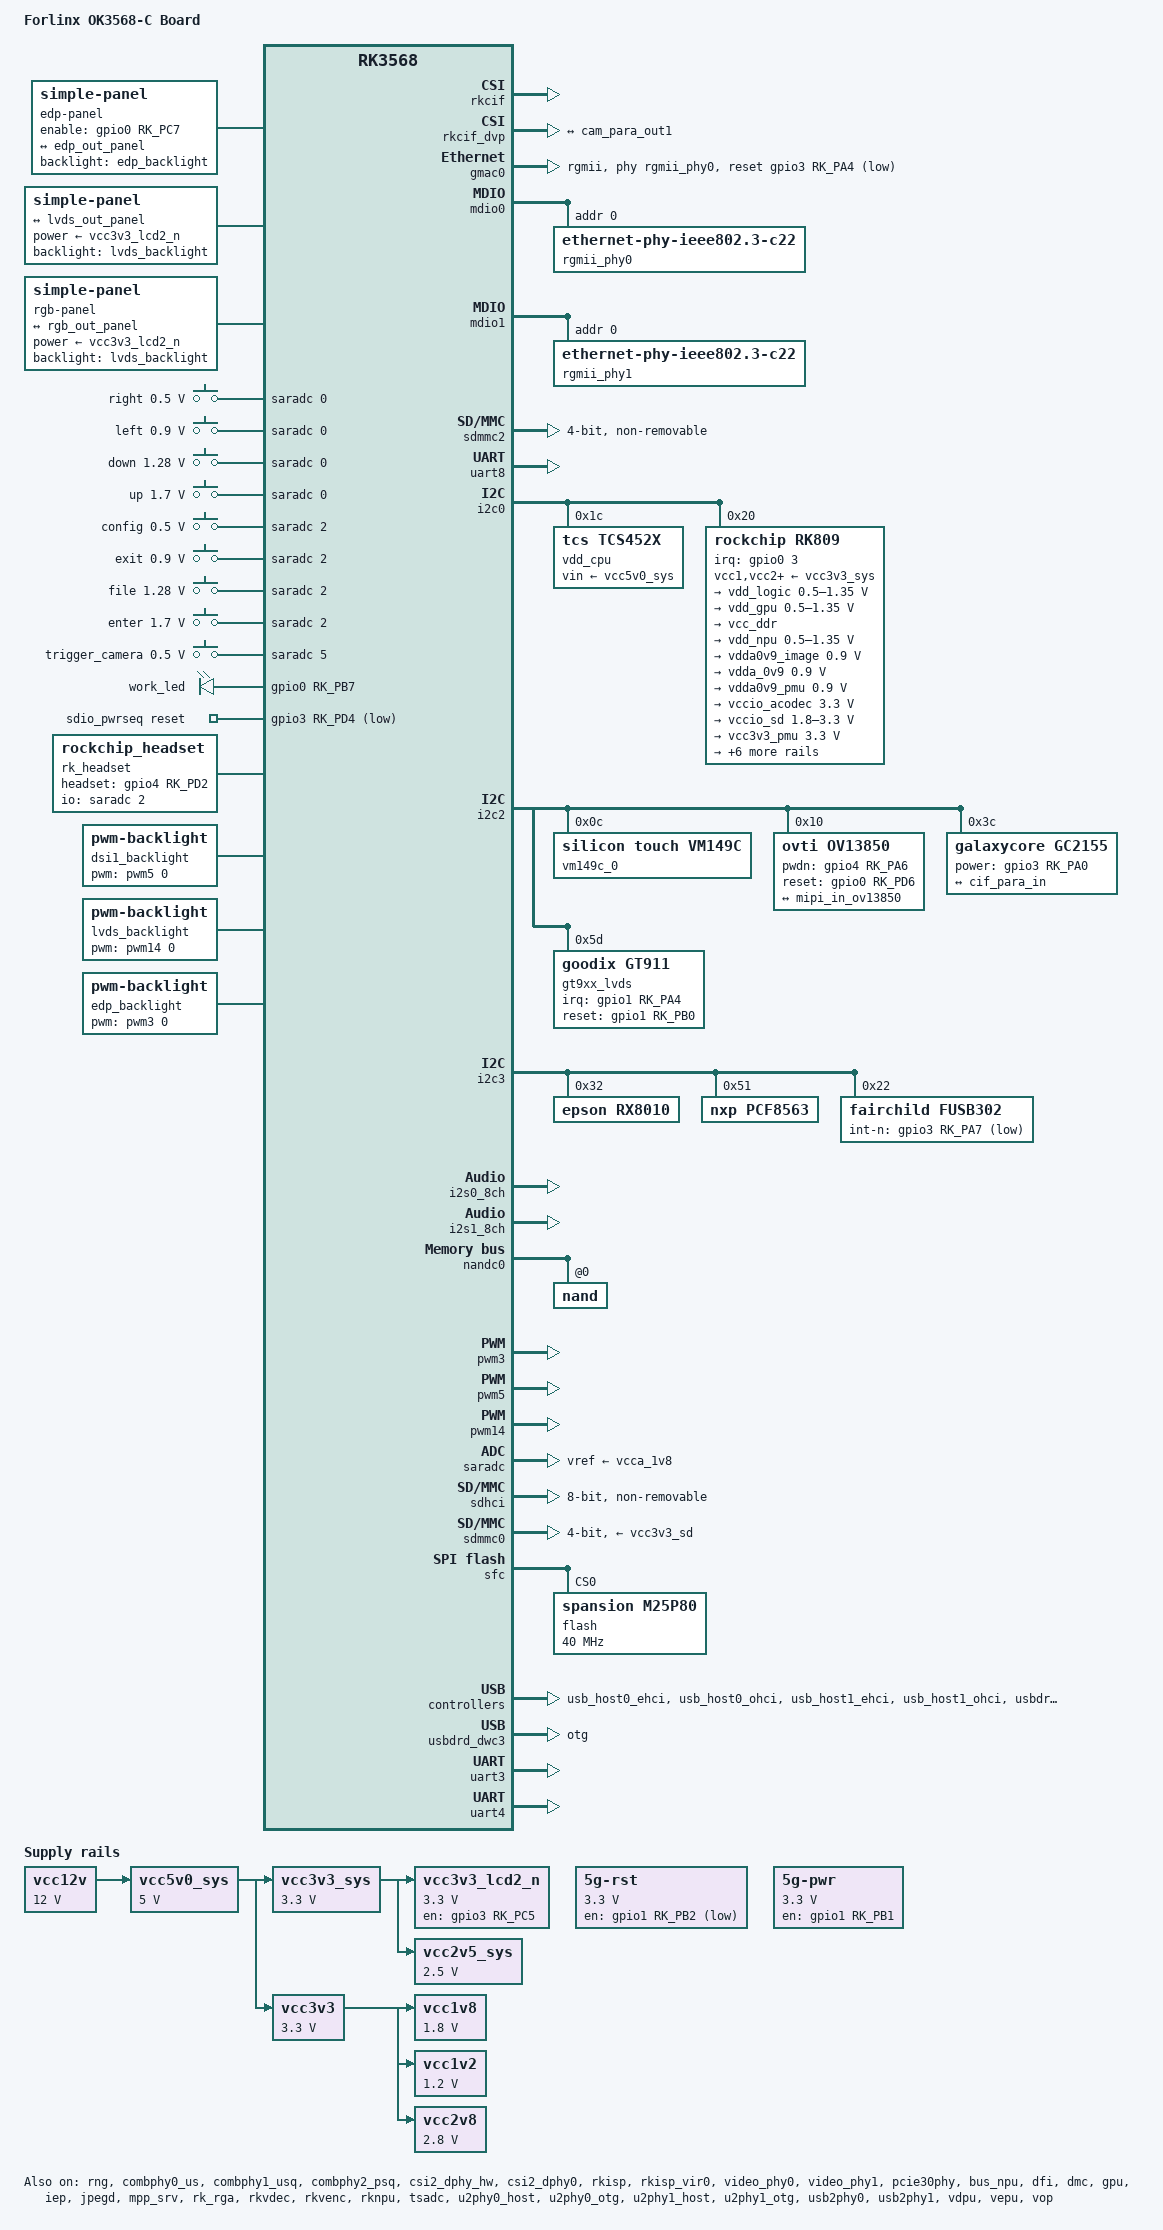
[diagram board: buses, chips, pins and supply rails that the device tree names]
/dts-v1/;

#include <dt-bindings/gpio/gpio.h>
#include <dt-bindings/pwm/pwm.h>
#include <dt-bindings/input/rk-input.h>
#include <dt-bindings/display/drm_mipi_dsi.h>
#include <dt-bindings/display/rockchip_vop.h>
#include <dt-bindings/display/media-bus-format.h>
#include "rk3568.dtsi"

/ {

	model = "Forlinx OK3568-C Board";
	compatible = "forlinx,ok3568", "rockchip,rk3568-evb1-ddr4-v10", "rockchip,rk3568";

	forlinx_control {
		status = "okay";
		video-hdmi = "hdmi";
		video-mipi-edp = "mipi";
		video-lvds-rgb = "lvds";
	};

	edp-panel {
		compatible = "simple-panel";
		prepare-delay-ms = <120>;
		enable-delay-ms = <120>;
		unprepare-delay-ms = <120>;
		disable-delay-ms = <120>;
		backlight = <&edp_backlight>;
		enable-gpios = <&gpio0 RK_PC7 GPIO_ACTIVE_HIGH>;

		port {
			panel_in_edp: endpoint {
				remote-endpoint = <&edp_out_panel>;
			};
		};
	};

	panel {
		compatible = "simple-panel";
		backlight = <&lvds_backlight>;
		power-supply = <&vcc3v3_lcd2_n>;
		enable-delay-ms = <20>;
		prepare-delay-ms = <20>;
		unprepare-delay-ms = <20>;
		disable-delay-ms = <20>;
		// attention
		bus-format = <MEDIA_BUS_FMT_RGB888_1X7X4_SPWG>;
		width-mm = <152>;
		height-mm = <91>;

		display-timings {
			native-mode = <&timing0>;

			timing0: timing0 {
				clock-frequency = <51000000>;
				hactive = <1024>;
				vactive = <600>;
				hback-porch = <210>;
				hfront-porch = <80>;
				vback-porch = <23>;
				vfront-porch = <12>;
				hsync-len = <8>;
				vsync-len = <8>;
				// all down
				hsync-active = <0>;
				vsync-active = <0>;
				de-active = <0>;
				pixelclk-active = <0>;
			};
		};

		ports {
			#address-cells = <1>;
			#size-cells = <0>;

			port@0 {
				reg = <0>;
				dual-lvds-even-pixels;
				panel_in_lvds: endpoint {
					remote-endpoint = <&lvds_out_panel>;
				};
			};
		};
	};

	rgb-panel {
                compatible = "simple-panel";
                backlight = <&lvds_backlight>;
                power-supply = <&vcc3v3_lcd2_n>;
                bus-format = <MEDIA_BUS_FMT_RGB888_1X7X4_SPWG>;

                display-timings {
                        native-mode = <&timing1>;

                        timing1: timing1 {
                               clock-frequency = <51200000>;
                               hactive = <1024>;
                               vactive = <600>;
                               hfront-porch = <160>;
                               hback-porch = <320>;
                               hsync-len = <1>;
                               vback-porch = <35>;
                               vfront-porch = <12>;
                               vsync-len = <1>;
                               hsync-active = <0>;
                               vsync-active = <0>;
                               de-active = <1>;
                               pixelclk-active = <1>;
                        };
                };

                ports {
                        #address-cells = <1>;
                        #size-cells = <0>;

                        port@0 {
                                reg = <0>;
                                panel_in_rgb: endpoint {
                                        remote-endpoint = <&rgb_out_panel>;
                                };
                        };

                };
        };

	// XJT modify: forlinx 3568
	// adc_keys: adc-keys {
	// 	compatible = "adc-keys";
	// 	io-channels = <&saradc 0>;
	// 	io-channel-names = "buttons";
	// 	keyup-threshold-microvolt = <1800000>;
	// 	poll-interval = <100>;

	// 	vol-up-key {
	// 		label = "volume up";
	// 		linux,code = <KEY_VOLUMEUP>;
	// 		press-threshold-microvolt = <1750>;
	// 	};

	// 	vol-down-key {
	// 		label = "volume down";
	// 		linux,code = <KEY_VOLUMEDOWN>;
	// 		press-threshold-microvolt = <297500>;
	// 	};

	// 	menu-key {
	// 		label = "menu";
	// 		linux,code = <KEY_MENU>;
	// 		press-threshold-microvolt = <980000>;
	// 	};

	// 	back-key {
	// 		label = "back";
	// 		linux,code = <KEY_BACK>;
	// 		press-threshold-microvolt = <1305500>;
	// 	};
	// };

	adc_keys_0: adc-keys-0 {
		compatible = "adc-keys-0";
		io-channels = <&saradc 0>;
		io-channel-names = "buttons-0";
		keyup-threshold-microvolt = <1800000>;
		poll-interval = <100>;

		// Arrow key, right, K5
		arr-right-key {
			label = "right";
			linux,code = <KEY_RIGHT>;
			press-threshold-microvolt = <500000>;
		};

		// Arrow key, left, K4
		arr-left-key {
			label = "left";
			linux,code = <KEY_LEFT>;
			press-threshold-microvolt = <900000>;
		};

		// Arrow key, down, K3
		arr-down-key {
			label = "down";
			linux,code = <KEY_DOWN>;
			press-threshold-microvolt = <1280000>;
		};

		// Arrow key, up, K2
		arr-up-key {
			label = "up";
			linux,code = <KEY_UP>;
			press-threshold-microvolt = <1700000>;
		};
	};

	adc_keys_2: adc-keys-2 {
		compatible = "adc-keys-2";
		io-channels = <&saradc 2>;
		io-channel-names = "buttons-2";
		keyup-threshold-microvolt = <1800000>;
		poll-interval = <100>;

		// Config key, K17
		config-key {
			label = "config";
			linux,code = <KEY_CONFIG>;
			press-threshold-microvolt = <500000>;
		};

		// Exit key, function as return , K16
		exit-key {
			label = "exit";
			linux,code = <KEY_EXIT>;
			press-threshold-microvolt = <900000>;
		};

		// File key, function as read existed image or video, K15
		file-key {
			label = "file";
			linux,code = <KEY_FILE>;
			press-threshold-microvolt = <1280000>;
		};

		// Arraw key, center or enter, K14
		arr-enter-key {
			label = "enter";
			linux,code = <KEY_ENTER>;
			press-threshold-microvolt = <1700000>;
		};
	};

	adc_keys_5: adc-keys-5 {
		compatible = "adc-keys-5";
		io-channels = <&saradc 5>;
		io-channel-names = "buttons-5";
		keyup-threshold-microvolt = <1800000>;
		poll-interval = <100>;

		// Trigger key, K17. Click capture image; press capture video
		trigger-camera-key {
			label = "trigger_camera";
			linux,code = <KEY_CAMERA>;
			press-threshold-microvolt = <500000>;
		};
	};

	leds: leds {
		compatible = "gpio-leds";
		work_led: work {
			gpios = <&gpio0 RK_PB7 GPIO_ACTIVE_HIGH>;
			linux,default-trigger = "heartbeat";
		};
	};

	hdmi_sound: hdmi-sound {
		status = "okay";
		compatible = "rockchip,hdmi";
		rockchip,mclk-fs = <128>;
		rockchip,card-name = "rockchip,hdmi";
		rockchip,cpu = <&i2s0_8ch>;
		rockchip,codec = <&hdmi>;
		rockchip,jack-det;
	};

	pdmics: dummy-codec {
		status = "disabled";
		compatible = "rockchip,dummy-codec";
		#sound-dai-cells = <0>;
	};

	pdm_mic_array: pdm-mic-array {
		status = "disabled";
		compatible = "simple-audio-card";
		simple-audio-card,name = "rockchip,pdm-mic-array";
		simple-audio-card,cpu {
			sound-dai = <&pdm>;
		};
		simple-audio-card,codec {
			sound-dai = <&pdmics>;
		};
	};

	audiopwmout_diff: audiopwmout-diff {
		status = "disabled";
		compatible = "simple-audio-card";
		simple-audio-card,format = "i2s";
		simple-audio-card,name = "rockchip,audiopwmout-diff";
		simple-audio-card,mclk-fs = <256>;
		simple-audio-card,bitclock-master = <&master>;
		simple-audio-card,frame-master = <&master>;
		simple-audio-card,cpu {
			sound-dai = <&i2s3_2ch>;
		};
		master: simple-audio-card,codec {
			sound-dai = <&dig_acodec>;
		};
	};


	rk809_sound: rk809-sound {
		status = "okay";
		compatible = "simple-audio-card";
		simple-audio-card,format = "i2s";
		simple-audio-card,name = "rockchip,rk809-codec";
		//simple-audio-card,hp-det-gpio = <&gpio4 RK_PD2 GPIO_ACTIVE_HIGH>;
		simple-audio-card,widgets =
			"Microphone", "Mic Jack",
			"Headphone", "Headphone Jack";
		simple-audio-card,routing =
                        "Mic Jack", "MICBIAS1",
                        "IN1P", "Mic Jack",
                        "Headphone Jack", "HPOL",
                        "Headphone Jack", "HPOR";
		simple-audio-card,mclk-fs = <256>;

		simple-audio-card,cpu {
			sound-dai = <&i2s1_8ch>;
		};
		simple-audio-card,codec {
			sound-dai = <&rk809_codec>;
		};
	};

	spdif-sound {
		status = "disabled";
		compatible = "simple-audio-card";
		simple-audio-card,name = "ROCKCHIP,SPDIF";
		simple-audio-card,cpu {
				sound-dai = <&spdif_8ch>;
		};
		simple-audio-card,codec {
				sound-dai = <&spdif_out>;
		};
	};

	spdif_out: spdif-out {
			status = "disabled";
			compatible = "linux,spdif-dit";
			#sound-dai-cells = <0>;
	};

	vcc12v: vcc-12v {
		compatible = "regulator-fixed";
		regulator-name = "vcc12v";
		regulator-always-on;
		regulator-boot-on;
		regulator-min-microvolt = <12000000>;
		regulator-max-microvolt = <12000000>;
	};

	vcc5v0_sys: vcc5v0-sys {
		compatible = "regulator-fixed";
		regulator-name = "vcc5v0_sys";
		regulator-always-on;
		regulator-boot-on;
		regulator-min-microvolt = <5000000>;
		regulator-max-microvolt = <5000000>;
		vin-supply = <&vcc12v>;
	};

	vcc3v3_sys: vcc3v3-sys {
		compatible = "regulator-fixed";
		regulator-name = "vcc3v3_sys";
		regulator-always-on;
		regulator-boot-on;
		regulator-min-microvolt = <3300000>;
		regulator-max-microvolt = <3300000>;
		vin-supply = <&vcc5v0_sys>;
	};
	
	//for main board
	vcc3v3: vcc-3v3 {
		compatible = "regulator-fixed";
		regulator-name = "vcc3v3";
		regulator-always-on;
		regulator-boot-on;
		regulator-min-microvolt = <3300000>;
		regulator-max-microvolt = <3300000>;
		vin-supply = <&vcc5v0_sys>;
	};

	vcc1v8: vcc-1v8 {
		compatible = "regulator-fixed";
		regulator-name = "vcc1v8";
		regulator-always-on;
		regulator-boot-on;
		regulator-min-microvolt = <1800000>;
		regulator-max-microvolt = <1800000>;
		vin-supply = <&vcc3v3>;
	};

	vcc1v2: vcc-1v2 {
		compatible = "regulator-fixed";
		regulator-name = "vcc1v2";
		regulator-always-on;
		regulator-boot-on;
		regulator-min-microvolt = <1200000>;
		regulator-max-microvolt = <1200000>;
		vin-supply = <&vcc3v3>;
	};

	vcc2v8: vcc-2v8 {
		compatible = "regulator-fixed";
		regulator-name = "vcc2v8";
		regulator-always-on;
		regulator-boot-on;
		regulator-min-microvolt = <2800000>;
		regulator-max-microvolt = <2800000>;
		vin-supply = <&vcc3v3>;
	};

	vcc3v3_lcd2_n: vcc3v3-lcd2-n {
		compatible = "regulator-fixed";
		regulator-name = "vcc3v3_lcd2_n";
		regulator-boot-on;
		regulator-min-microvolt = <3300000>;
		regulator-max-microvolt = <3300000>;
		enable-active-high;
		gpio = <&gpio3 RK_PC5 GPIO_ACTIVE_HIGH>;
		vin-supply = <&vcc3v3_sys>;
		
		regulator-state-mem {
			regulator-off-in-suspend;
		};
	};

	sdio_pwrseq: sdio-pwrseq {
		compatible = "mmc-pwrseq-simple";
		clocks = <&rk809 1>;
		clock-names = "ext_clock";
		pinctrl-names = "default";
		pinctrl-0 = <&wifi_enable_h>;

		/*
		 * On the module itself this is one of these (depending
		 * on the actual card populated):
		 * - SDIO_RESET_L_WL_REG_ON
		 * - PDN (power down when low)
		 */
		post-power-on-delay-ms = <200>;
		reset-gpios = <&gpio3 RK_PD4 GPIO_ACTIVE_LOW>;
	};

	vcc2v5_sys: vcc2v5-ddr {
		compatible = "regulator-fixed";
		regulator-name = "vcc2v5-sys";
		regulator-always-on;
		regulator-boot-on;
		regulator-min-microvolt = <2500000>;
		regulator-max-microvolt = <2500000>;
		vin-supply = <&vcc3v3_sys>;
	};

	5g-rst {
        compatible = "regulator-fixed";
        regulator-name = "5g-rst";
        regulator-min-microvolt = <3300000>;
        regulator-max-microvolt = <3300000>;
        gpio = <&gpio1 RK_PB2 GPIO_ACTIVE_LOW>;
        enable-active-low;
        regulator-boot-on;
        regulator-always-on;
		pinctrl-names = "default";
		pinctrl-0 = <&net_5g_rst_gpio>;
        status = "okay";
    };

    5g-pwr {
        compatible = "regulator-fixed";
        regulator-name = "5g-pwr";
        regulator-min-microvolt = <3300000>;
        regulator-max-microvolt = <3300000>;
        gpio = <&gpio1 RK_PB1 GPIO_ACTIVE_HIGH>;
        enable-active-high;
        regulator-boot-on;
        regulator-always-on;
		pinctrl-names = "default";
		pinctrl-0 = <&net_5g_pwr_gpio>;
        status = "okay";
    };

	fiq-debugger {
		compatible = "rockchip,fiq-debugger";
		rockchip,serial-id = <2>;
		rockchip,wake-irq = <0>;
		/* If enable uart uses irq instead of fiq */
		rockchip,irq-mode-enable = <1>;
		rockchip,baudrate = <115200>;  /* Only 115200 and 1500000 */
		interrupts = <GIC_SPI 252 IRQ_TYPE_LEVEL_LOW>;
		pinctrl-names = "default";
		pinctrl-0 = <&uart2m0_xfer>;
		status = "okay";
	};

	debug: debug@fd904000 {
		compatible = "rockchip,debug";
		reg = <0x0 0xfd904000 0x0 0x1000>,
			<0x0 0xfd905000 0x0 0x1000>,
			<0x0 0xfd906000 0x0 0x1000>,
			<0x0 0xfd907000 0x0 0x1000>;
	};

	cspmu: cspmu@fd90c000 {
		compatible = "rockchip,cspmu";
		reg = <0x0 0xfd90c000 0x0 0x1000>,
			<0x0 0xfd90d000 0x0 0x1000>,
			<0x0 0xfd90e000 0x0 0x1000>,
			<0x0 0xfd90f000 0x0 0x1000>;
	};

	test-power {
		status = "okay";
	};

	rk_headset: rk-headset {
		status = "okay";
		compatible = "rockchip_headset";
		headset_gpio = <&gpio4 RK_PD2 GPIO_ACTIVE_HIGH>;
		pinctrl-names = "default";
		pinctrl-0 = <&hp_det>;
		io-channels = <&saradc 2>;
	};

	dsi1_backlight: dsi1-backlight {
		compatible = "pwm-backlight";
		pwms = <&pwm5 0 20000 0>;
		brightness-levels = <
			  0  20  20  21  21  22  22  23
			 23  24  24  25  25  26  26  27
			 27  28  28  29  29  30  30  31
			 31  32  32  33  33  34  34  35
			 35  36  36  37  37  38  38  39
			 40  41  42  43  44  45  46  47
			 48  49  50  51  52  53  54  55
			 56  57  58  59  60  61  62  63
			 64  65  66  67  68  69  70  71
			 72  73  74  75  76  77  78  79
			 80  81  82  83  84  85  86  87
			 88  89  90  91  92  93  94  95
			 96  97  98  99 100 101 102 103
			104 105 106 107 108 109 110 111
			112 113 114 115 116 117 118 119
			120 121 122 123 124 125 126 127
			128 129 130 131 132 133 134 135
			136 137 138 139 140 141 142 143
			144 145 146 147 148 149 150 151
			152 153 154 155 156 157 158 159
			160 161 162 163 164 165 166 167
			168 169 170 171 172 173 174 175
			176 177 178 179 180 181 182 183
			184 185 186 187 188 189 190 191
			192 193 194 195 196 197 198 199
			200 201 202 203 204 205 206 207
			208 209 210 211 212 213 214 215
			216 217 218 219 220 221 222 223
			224 225 226 227 228 229 230 231
			232 233 234 235 236 237 238 239
			240 241 242 243 244 245 246 247
			248 249 250 251 252 253 254 255
		>;
		default-brightness-level = <200>;
		is-forlinx;
	};

	lvds_backlight: lvds-backlight {
		compatible = "pwm-backlight";
		pwms = <&pwm14 0 20000 0>;
		brightness-levels = <
			  0  20  20  21  21  22  22  23
			 23  24  24  25  25  26  26  27
			 27  28  28  29  29  30  30  31
			 31  32  32  33  33  34  34  35
			 35  36  36  37  37  38  38  39
			 40  41  42  43  44  45  46  47
			 48  49  50  51  52  53  54  55
			 56  57  58  59  60  61  62  63
			 64  65  66  67  68  69  70  71
			 72  73  74  75  76  77  78  79
			 80  81  82  83  84  85  86  87
			 88  89  90  91  92  93  94  95
			 96  97  98  99 100 101 102 103
			104 105 106 107 108 109 110 111
			112 113 114 115 116 117 118 119
			120 121 122 123 124 125 126 127
			128 129 130 131 132 133 134 135
			136 137 138 139 140 141 142 143
			144 145 146 147 148 149 150 151
			152 153 154 155 156 157 158 159
			160 161 162 163 164 165 166 167
			168 169 170 171 172 173 174 175
			176 177 178 179 180 181 182 183
			184 185 186 187 188 189 190 191
			192 193 194 195 196 197 198 199
			200 201 202 203 204 205 206 207
			208 209 210 211 212 213 214 215
			216 217 218 219 220 221 222 223
			224 225 226 227 228 229 230 231
			232 233 234 235 236 237 238 239
			240 241 242 243 244 245 246 247
			248 249 250 251 252 253 254 255
		>;
		default-brightness-level = <200>;
		is-forlinx;
	};

	edp_backlight: edp-backlight {
		compatible = "pwm-backlight";
		pwms = <&pwm3 0 20000 0>;
		brightness-levels = <
			  0  20  20  21  21  22  22  23
			 23  24  24  25  25  26  26  27
			 27  28  28  29  29  30  30  31
			 31  32  32  33  33  34  34  35
			 35  36  36  37  37  38  38  39
			 40  41  42  43  44  45  46  47
			 48  49  50  51  52  53  54  55
			 56  57  58  59  60  61  62  63
			 64  65  66  67  68  69  70  71
			 72  73  74  75  76  77  78  79
			 80  81  82  83  84  85  86  87
			 88  89  90  91  92  93  94  95
			 96  97  98  99 100 101 102 103
			104 105 106 107 108 109 110 111
			112 113 114 115 116 117 118 119
			120 121 122 123 124 125 126 127
			128 129 130 131 132 133 134 135
			136 137 138 139 140 141 142 143
			144 145 146 147 148 149 150 151
			152 153 154 155 156 157 158 159
			160 161 162 163 164 165 166 167
			168 169 170 171 172 173 174 175
			176 177 178 179 180 181 182 183
			184 185 186 187 188 189 190 191
			192 193 194 195 196 197 198 199
			200 201 202 203 204 205 206 207
			208 209 210 211 212 213 214 215
			216 217 218 219 220 221 222 223
			224 225 226 227 228 229 230 231
			232 233 234 235 236 237 238 239
			240 241 242 243 244 245 246 247
			248 249 250 251 252 253 254 255
		>;
		default-brightness-level = <200>;
	};
};

&reserved_memory {
	ramoops: ramoops@110000 {
		compatible = "ramoops";
		reg = <0x0 0x110000 0x0 0xf0000>;
		record-size = <0x20000>;
		console-size = <0x80000>;
		ftrace-size = <0x00000>;
		pmsg-size = <0x50000>;
	};
};

&rng {
	status = "okay";
};

&rockchip_suspend {
	status = "okay";
};

&combphy0_us {
	status = "okay";
};

&combphy1_usq {
	status = "okay";
};

&combphy2_psq {
	status = "okay";
};

/* =========================================================================================== */
/* ======================================== CAM BEGIN ======================================== */
/* =========================================================================================== */

&csi2_dphy_hw {
	status = "okay";
};

&csi2_dphy0 {
	status = "okay";

	ports {
		#address-cells = <1>;
		#size-cells = <0>;
		port@0 {
			reg = <0>;
			#address-cells = <1>;
			#size-cells = <0>;

			mipi_in_ov13850: endpoint@1 {
				reg = <1>;
				remote-endpoint = <&ov13850_out>;
				data-lanes = <1 2>;
			};
		};
		port@1 {
			reg = <1>;
			#address-cells = <1>;
			#size-cells = <0>;

			csidphy_out: endpoint@0 {
				reg = <0>;
				remote-endpoint = <&isp0_in>;
			};
		};
	};
};

&rkisp {
	status = "okay";
};

&rkisp_mmu {
	status = "okay";
};

&rkisp_vir0 {
	status = "okay";

	port {
		#address-cells = <1>;
		#size-cells = <0>;

		isp0_in: endpoint@0 {
			reg = <0>;
			remote-endpoint = <&csidphy_out>;
		};
	};
};

&rkcif {
	status = "okay";
};

&rkcif_mmu {
	status = "okay";
};

&rkcif_dvp {
	status = "okay";

	port {
		cif_para_in: endpoint {
			remote-endpoint = <&cam_para_out1>;
			bus-width = <8>;
			hsync-active = <1>;
			vsync-active = <1>;
			pclk-sample = <1>;
		};
	};
};

// &rkcif_dvp_sditf {
// 	status = "okay";

// 	port {
// 		dvp_sditf: endpoint {
// 			remote-endpoint = <&isp1_in>;
// 			bus-width = <8>;
// 			hsync-active = <1>;
// 			vsync-active = <1>;
// 			pclk-sample = <0>;
// 		};
// 	};
// };

// &rkisp_vir1 {
// 	status = "okay";

// 	ports {
// 		port@0 {
// 			#address-cells = <1>;
// 			#size-cells = <0>;

// 			isp1_in: endpoint@0 {
// 				reg = <0>;
// 				remote-endpoint = <&dvp_sditf>;
// 			};
// 		};
// 	};
// };

/* ========================================================================================= */
/* ======================================== CAM END ======================================== */
/* ========================================================================================= */

&gmac0 {
	phy-mode = "rgmii";
	clock_in_out = "output";

	snps,reset-gpio = <&gpio3 RK_PA4 GPIO_ACTIVE_LOW>;
	snps,reset-active-low;
	/* Reset time is 20ms, 100ms for rtl8211f */
	snps,reset-delays-us = <0 20000 100000>;

	assigned-clocks = <&cru SCLK_GMAC0_RX_TX>, <&cru SCLK_GMAC0>, <&cru CLK_MAC0_OUT>;
	assigned-clock-parents = <&cru SCLK_GMAC0_RGMII_SPEED>;
	assigned-clock-rates = <0>, <125000000>, <25000000>;

	pinctrl-names = "default";
	pinctrl-0 = <&gmac0_miim
		     &gmac0_tx_bus2
		     &gmac0_rx_bus2
		     &gmac0_rgmii_clk
		     &gmac0_rgmii_bus
			 &eth0_pins>;

	tx_delay = <0x2f>;
	rx_delay = <0x00>;

	phy-handle = <&rgmii_phy0>;
	status = "okay";
};

// xjt
// &gmac1 {
// 	phy-mode = "rgmii";
// 	clock_in_out = "output";

// 	snps,reset-gpio = <&gpio3 RK_PA2 GPIO_ACTIVE_LOW>;
// 	snps,reset-active-low;
// 	/* Reset time is 20ms, 100ms for rtl8211f */
// 	snps,reset-delays-us = <0 20000 100000>;

// 	assigned-clocks = <&cru SCLK_GMAC1_RX_TX>, <&cru SCLK_GMAC1>, <&cru CLK_MAC1_OUT>;
// 	assigned-clock-parents = <&cru SCLK_GMAC1_RGMII_SPEED>;
// 	assigned-clock-rates = <0>, <125000000>, <25000000>;

// 	pinctrl-names = "default";
// 	pinctrl-0 = <&gmac1m1_miim
// 		     &gmac1m1_tx_bus2
// 		     &gmac1m1_rx_bus2
// 		     &gmac1m1_rgmii_clk
// 		     &gmac1m1_rgmii_bus
// 			 &eth1m1_pins>;

// 	tx_delay = <0x35>;
// 	rx_delay = <0x00>;

// 	phy-handle = <&rgmii_phy1>;
// 	status = "okay";
// };

&mdio0 {
	rgmii_phy0: phy@0 {
		compatible = "ethernet-phy-ieee802.3-c22";
		reg = <0x0>;
		clocks = <&cru CLK_MAC0_OUT>;
	};
};

&mdio1 {
	rgmii_phy1: phy@0 {
		compatible = "ethernet-phy-ieee802.3-c22";
		reg = <0x0>;
		clocks = <&cru CLK_MAC1_OUT>;
	};
};

&video_phy0 {
	status = "okay";
};

&video_phy1 {
	status = "okay";
};

&pcie30phy {
	status = "okay";
};

&pcie3x2 {
	reset-gpios = <&gpio0 RK_PC6 GPIO_ACTIVE_HIGH>;
	enable-gpios = <&gpio0 RK_PA5 GPIO_ACTIVE_HIGH>;
	vpcie3v3-supply = <&vcc3v3_sys>;
	// status = "okay";
	// xjt
	status = "disable";
};

&pcie2x1 {
	reset-gpios = <&gpio0 RK_PB6 GPIO_ACTIVE_HIGH>;
	vpcie3v3-supply = <&vcc3v3_sys>;
	// status = "okay";
	// xjt
	status = "disable";
};

&pinctrl {
 	touch {
 		touch_gpio: touch-gpio {
 			rockchip,pins =
				<1 RK_PA4 RK_FUNC_GPIO &pcfg_pull_up>,
				<1 RK_PB0 RK_FUNC_GPIO &pcfg_pull_none>;
		};
 	};

	cam {
		camera_pwr: camera-pwr {
			rockchip,pins =
				/* camera power en */
				<0 RK_PC1 RK_FUNC_GPIO &pcfg_pull_none>;
		};

		ov13850_default_pin: ov13850-default-pin {
			rockchip,pins =
				<4 RK_PB2 RK_FUNC_GPIO &pcfg_pull_none>,
				<0 RK_PD6 RK_FUNC_GPIO &pcfg_pull_none>;
		};
		ov13850_sleep_pin: ov13850-sleep-pin {
			rockchip,pins =
				<4 RK_PB2 RK_FUNC_GPIO &pcfg_pull_none>,
				<0 RK_PD6 RK_FUNC_GPIO &pcfg_pull_none>;
		};
	};
	headphone {
		hp_det: hp-det {
			rockchip,pins = <4 RK_PD2 RK_FUNC_GPIO &pcfg_pull_none>;
		};
	};

	pmic {
		pmic_int: pmic_int {
			rockchip,pins =
				<0 RK_PA3 RK_FUNC_GPIO &pcfg_pull_up>;
		};

		soc_slppin_gpio: soc_slppin_gpio {
			rockchip,pins =
				<0 RK_PA2 RK_FUNC_GPIO &pcfg_output_low_pull_down>;
		};

		soc_slppin_slp: soc_slppin_slp {
			rockchip,pins =
				<0 RK_PA2 1 &pcfg_pull_up>;
		};

		soc_slppin_rst: soc_slppin_rst {
			rockchip,pins =
				<0 RK_PA2 2 &pcfg_pull_none>;
		};
	};

	sdio-pwrseq {
		wifi_enable_h: wifi-enable-h {
			rockchip,pins = <3 RK_PD4 RK_FUNC_GPIO &pcfg_pull_none>;
		};
	};

	5g {
		net_5g_rst_gpio: net_5g_rst_gpio {
			rockchip,pins = <1 RK_PB2 RK_FUNC_GPIO &pcfg_pull_none>;			 
		};

		net_5g_pwr_gpio: net_5g_pwr_gpio {
			rockchip,pins = <1 RK_PB1 RK_FUNC_GPIO &pcfg_pull_none>;			 
		};
	};

	fusb {
		fusb_int: fusb_int {
			rockchip,pins = <3 RK_PA7 RK_FUNC_GPIO &pcfg_pull_up>;
		};
	};
};

// WiFi + BT
&sdmmc2 {
	max-frequency = <150000000>;
	supports-sdio;
	bus-width = <4>;
	disable-wp;
	cap-sd-highspeed;
	cap-sdio-irq;
	keep-power-in-suspend;
	mmc-pwrseq = <&sdio_pwrseq>;
	non-removable;
	pinctrl-names = "default";
	pinctrl-0 = <&sdmmc2m0_bus4 &sdmmc2m0_cmd &sdmmc2m0_clk>;
	sd-uhs-sdr104;
	status = "okay";
};


// WiFi + BT
&uart8 {
	status = "okay";
	pinctrl-names = "default";
	pinctrl-0 = <&uart8m0_xfer &uart8m0_ctsn &uart8m0_rtsn>;
};


&bus_npu {
	bus-supply = <&vdd_logic>;
	pvtm-supply = <&vdd_cpu>;
	status = "okay";
};

// &can0 {
// 	assigned-clocks = <&cru CLK_CAN0>;
// 	assigned-clock-rates = <200000000>;
// 	pinctrl-names = "default";
// 	pinctrl-0 = <&can0m0_pins>;
// 	status = "okay";
// };

// &can1 {
// 	assigned-clocks = <&cru CLK_CAN1>;
// 	assigned-clock-rates = <200000000>;
// 	pinctrl-names = "default";
// 	pinctrl-0 = <&can1m1_pins>;
// 	status = "okay";
// };

// &can2 {
// 	assigned-clocks = <&cru CLK_CAN2>;
// 	assigned-clock-rates = <150000000>;
// 	pinctrl-names = "default";
// 	pinctrl-0 = <&can2m1_pins>;
// 	status = "disabled";
// };

&cpu0 {
	cpu-supply = <&vdd_cpu>;
};

&dfi {
	status = "okay";
};

&dmc {
	center-supply = <&vdd_logic>;
	status = "okay";
};

&gpu {
	mali-supply = <&vdd_gpu>;
	status = "okay";
};

&i2c0 {
	status = "okay";

	vdd_cpu: tcs4525@1c {
		compatible = "tcs,tcs452x";
		reg = <0x1c>;
		vin-supply = <&vcc5v0_sys>;
		regulator-compatible = "fan53555-reg";
		regulator-name = "vdd_cpu";
		regulator-min-microvolt = <712500>;
		regulator-max-microvolt = <1390000>;
		regulator-init-microvolt = <900000>;
		regulator-ramp-delay = <2300>;
		fcs,suspend-voltage-selector = <1>;
		regulator-boot-on;
		regulator-always-on;
		regulator-state-mem {
			regulator-off-in-suspend;
		};
	};

	rk809: pmic@20 {
		compatible = "rockchip,rk809";
		reg = <0x20>;
		interrupt-parent = <&gpio0>;
		interrupts = <3 IRQ_TYPE_LEVEL_LOW>;

		pinctrl-names = "default", "pmic-sleep",
				"pmic-power-off", "pmic-reset";
		pinctrl-0 = <&pmic_int>;
		pinctrl-1 = <&soc_slppin_slp>, <&rk817_slppin_slp>;
		pinctrl-2 = <&soc_slppin_gpio>, <&rk817_slppin_pwrdn>;
		pinctrl-3 = <&soc_slppin_gpio>, <&rk817_slppin_rst>;

		rockchip,system-power-controller;
		wakeup-source;
		#clock-cells = <1>;
		clock-output-names = "rk808-clkout1", "rk808-clkout2";
		//fb-inner-reg-idxs = <2>;
		/* 1: rst regs (default in codes), 0: rst the pmic */
		pmic-reset-func = <0>;
		/* not save the PMIC_POWER_EN register in uboot */
		not-save-power-en = <1>;

		vcc1-supply = <&vcc3v3_sys>;
		vcc2-supply = <&vcc3v3_sys>;
		vcc3-supply = <&vcc3v3_sys>;
		vcc4-supply = <&vcc3v3_sys>;
		vcc5-supply = <&vcc3v3_sys>;
		vcc6-supply = <&vcc3v3_sys>;
		vcc7-supply = <&vcc3v3_sys>;
		vcc8-supply = <&vcc3v3_sys>;
		vcc9-supply = <&vcc3v3_sys>;

		pwrkey {
			status = "okay";
		};

		pinctrl_rk8xx: pinctrl_rk8xx {
			gpio-controller;
			#gpio-cells = <2>;

			rk817_slppin_null: rk817_slppin_null {
				pins = "gpio_slp";
				function = "pin_fun0";
			};

			rk817_slppin_slp: rk817_slppin_slp {
				pins = "gpio_slp";
				function = "pin_fun1";
			};

			rk817_slppin_pwrdn: rk817_slppin_pwrdn {
				pins = "gpio_slp";
				function = "pin_fun2";
			};

			rk817_slppin_rst: rk817_slppin_rst {
				pins = "gpio_slp";
				function = "pin_fun3";
			};
		};

		regulators {
			vdd_logic: DCDC_REG1 {
				regulator-always-on;
				regulator-boot-on;
				regulator-min-microvolt = <500000>;
				regulator-max-microvolt = <1350000>;
				regulator-init-microvolt = <900000>;
				regulator-ramp-delay = <6001>;
				regulator-initial-mode = <0x2>;
				regulator-name = "vdd_logic";
				regulator-state-mem {
					regulator-off-in-suspend;
				};
			};

			vdd_gpu: DCDC_REG2 {
				regulator-always-on;
				regulator-boot-on;
				regulator-min-microvolt = <500000>;
				regulator-max-microvolt = <1350000>;
				regulator-init-microvolt = <900000>;
				regulator-ramp-delay = <6001>;
				regulator-initial-mode = <0x2>;
				regulator-name = "vdd_gpu";
				regulator-state-mem {
					regulator-off-in-suspend;
				};
			};

			vcc_ddr: DCDC_REG3 {
				regulator-always-on;
				regulator-boot-on;
				regulator-initial-mode = <0x2>;
				regulator-name = "vcc_ddr";
				regulator-state-mem {
					regulator-on-in-suspend;
				};
			};

			vdd_npu: DCDC_REG4 {
				regulator-always-on;
				regulator-boot-on;
				regulator-min-microvolt = <500000>;
				regulator-max-microvolt = <1350000>;
				regulator-init-microvolt = <900000>;
				regulator-ramp-delay = <6001>;
				regulator-initial-mode = <0x2>;
				regulator-name = "vdd_npu";
				regulator-state-mem {
					regulator-off-in-suspend;
				};
			};

			vdda0v9_image: LDO_REG1 {
				regulator-boot-on;
				regulator-always-on;
				regulator-min-microvolt = <900000>;
				regulator-max-microvolt = <900000>;
				regulator-name = "vdda0v9_image";
				regulator-state-mem {
					regulator-off-in-suspend;
				};
			};

			vdda_0v9: LDO_REG2 {
				regulator-always-on;
				regulator-boot-on;
				regulator-min-microvolt = <900000>;
				regulator-max-microvolt = <900000>;
				regulator-name = "vdda_0v9";
				regulator-state-mem {
					regulator-off-in-suspend;
				};
			};

			vdda0v9_pmu: LDO_REG3 {
				regulator-always-on;
				regulator-boot-on;
				regulator-min-microvolt = <900000>;
				regulator-max-microvolt = <900000>;
				regulator-name = "vdda0v9_pmu";
				regulator-state-mem {
					regulator-on-in-suspend;
					regulator-suspend-microvolt = <900000>;
				};
			};

			vccio_acodec: LDO_REG4 {
				regulator-always-on;
				regulator-boot-on;
				regulator-min-microvolt = <3300000>;
				regulator-max-microvolt = <3300000>;
				regulator-name = "vccio_acodec";
				regulator-state-mem {
					regulator-off-in-suspend;
				};
			};

			vccio_sd: LDO_REG5 {
				regulator-always-on;
				regulator-boot-on;
				regulator-min-microvolt = <1800000>;
				regulator-max-microvolt = <3300000>;
				regulator-name = "vccio_sd";
				regulator-state-mem {
					regulator-off-in-suspend;
				};
			};

			vcc3v3_pmu: LDO_REG6 {
				regulator-always-on;
				regulator-boot-on;
				regulator-min-microvolt = <3300000>;
				regulator-max-microvolt = <3300000>;
				regulator-name = "vcc3v3_pmu";
				regulator-state-mem {
					regulator-on-in-suspend;
					regulator-suspend-microvolt = <3300000>;
				};
			};

			vcca_1v8: LDO_REG7 {
				regulator-always-on;
				regulator-boot-on;
				regulator-min-microvolt = <1800000>;
				regulator-max-microvolt = <1800000>;
				regulator-name = "vcca_1v8";
				regulator-state-mem {
					regulator-off-in-suspend;
				};
			};

			vcca1v8_pmu: LDO_REG8 {
				regulator-always-on;
				regulator-boot-on;
				regulator-min-microvolt = <1800000>;
				regulator-max-microvolt = <1800000>;
				regulator-name = "vcca1v8_pmu";
				regulator-state-mem {
					regulator-on-in-suspend;
					regulator-suspend-microvolt = <1800000>;
				};
			};

			vcca1v8_image: LDO_REG9 {
				regulator-always-on;
				regulator-boot-on;
				regulator-min-microvolt = <1800000>;
				regulator-max-microvolt = <1800000>;
				regulator-name = "vcca1v8_image";
				regulator-state-mem {
					regulator-off-in-suspend;
				};
			};

			vcc_1v8: DCDC_REG5 {
				regulator-always-on;
				regulator-boot-on;
				regulator-min-microvolt = <1800000>;
				regulator-max-microvolt = <1800000>;
				regulator-name = "vcc_1v8";
				regulator-state-mem {
					regulator-off-in-suspend;
				};
			};

			vcc_3v3: SWITCH_REG1 {
				regulator-always-on;
				regulator-boot-on;
				regulator-name = "vcc_3v3";
				regulator-state-mem {
					regulator-off-in-suspend;
				};
			};

			vcc3v3_sd: SWITCH_REG2 {
				regulator-always-on;
				regulator-boot-on;
				regulator-name = "vcc3v3_sd";
				regulator-state-mem {
					regulator-off-in-suspend;
				};
			};
		};

		rk809_codec: codec {
			#sound-dai-cells = <0>;
			compatible = "rockchip,rk809-codec", "rockchip,rk817-codec";
			clocks = <&cru I2S1_MCLKOUT>;
			clock-names = "mclk";
			assigned-clocks = <&cru I2S1_MCLKOUT>, <&cru I2S1_MCLK_TX_IOE>;
			assigned-clock-rates = <12288000>;
			assigned-clock-parents = <&cru I2S1_MCLKOUT_TX>, <&cru I2S1_MCLKOUT_TX>;
			pinctrl-names = "default";
			pinctrl-0 = <&i2s1m0_mclk>;
			hp-volume = <20>;
			spk-volume = <3>;
			mic-in-differential;
			status = "okay";
		};
	};
};

&i2c2 {
	status = "okay";
	pinctrl-names = "default";
	pinctrl-0 = <&i2c2m1_xfer>;

	vm149c_0: vm149c@0c {
		compatible = "silicon touch,vm149c";
		status = "okay";
		reg = <0x0c>;
		rockchip,camera-module-index = <0>;
		rockchip,camera-module-facing = "back";

		rockchip,vcm-start-current = <20>;
        rockchip,vcm-rated-current = <80>;
        rockchip,vcm-step-mode = <13>;
	};

	ov13850: ov13850@10 {
		compatible = "ovti,ov13850";
		status = "okay";
		reg = <0x10>;
		clocks = <&cru CLK_CAM0_OUT>;
		clock-names = "xvclk";
		power-domains = <&power RK3568_PD_VI>;
		pinctrl-names = "default";
		pinctrl-0 = <&cam_clkout0>, <&ov13850_default_pin>;
		pwdn-gpios = <&gpio4 RK_PA6 GPIO_ACTIVE_HIGH>;
		reset-gpios = <&gpio0 RK_PD6 GPIO_ACTIVE_HIGH>;
		rockchip,camera-module-index = <0>;
		rockchip,camera-module-facing = "back";
		rockchip,camera-module-name = "ov13850-csi";
		rockchip,camera-module-lens-name = "ov13850-2mp";
		lens-focus = <&vm149c_0>;

		port {
			ov13850_out: endpoint {
				remote-endpoint = <&mipi_in_ov13850>;
				data-lanes = <1 2>;
			};
		};
	};

	gc2155: gc2155@3c{
		compatible = "galaxycore,gc2155";
		reg = <0x3c>;
		status = "okay";
		clocks = <&cru CLK_CIF_OUT>;
		// clocks = <&cru CLK_CAM0_OUT>;
		clock-names = "xvclk";
		power-domains = <&power RK3568_PD_VI>;
		pinctrl-names = "default";
		pinctrl-0 = <&cif_clk &cif_dvp_clk &cif_dvp_bus16>;
		// pinctrl-0 = <&cif_clk>, <&cif_dvp_bus16>;
		// pinctrl-0 = <&cam_clkout0>, <&cif_dvp_bus16>;
		power-gpios = <&gpio3 RK_PA0 GPIO_ACTIVE_HIGH>;
		// reset-gpios = <&gpio2 RK_PA6 GPIO_ACTIVE_HIGH>;
		rockchip,camera-module-index = <1>;
		rockchip,camera-module-facing = "front";
		rockchip,camera-module-name = "default"; 
		rockchip,camera-module-lens-name = "default"; 

		port {
			cam_para_out1: endpoint{
				remote-endpoint = <&cif_para_in>; 
			};
		};
	};

	gt9xx_lvds: gt9xx@5d {
		compatible = "goodix,gt911";
		reg = <0x5d>;
		pinctrl-names = "default";
		pinctrl-0 = <&touch_gpio>;
		interrupt-parent = <&gpio1>;
		interrupts = <RK_PA4 IRQ_TYPE_EDGE_FALLING>;
		irq-gpio = <&gpio1 RK_PA4 IRQ_TYPE_LEVEL_LOW>;
		reset-gpio = <&gpio1 RK_PB0 GPIO_ACTIVE_HIGH>;
		// touchscreen-size-x = <800>;
		// touchscreen-size-y = <480>;
		touchscreen-size-x = <1024>;
		touchscreen-size-y = <600>;
		// touchscreen-swapped-x-y;
		uniq = "lvds";
		status = "okay";
	};
};

&i2c3 {
	status = "okay";

	rx8010: rx8010@32 {
		compatible = "epson,rx8010";
		reg = <0x32>;
	};

	pcf8563: pcf8563@51 {
		compatible = "nxp,pcf8563";
		reg = <0x51>;
		#clock-cells = <0>;
	};

	fusb302: fusb302@5c {
		compatible = "fairchild,fusb302";
		reg = <0x22>;
		pinctrl-names = "default";
		pinctrl-0 = <&fusb_int>;
		int-n-gpios = <&gpio3 RK_PA7 GPIO_ACTIVE_LOW>;
		status = "okay";
	};

	/* Slave: SHT40 */

	/* Slave: MP2760(PMIC) */
};

&i2s0_8ch {
	status = "okay";
};

&i2s1_8ch {
	status = "okay";
	rockchip,clk-trcm = <1>;
	pinctrl-names = "default";
	pinctrl-0 = <&i2s1m0_sclktx
		     &i2s1m0_lrcktx
		     &i2s1m0_sdi0
		     &i2s1m0_sdo0>;
};

&iep {
	status = "okay";
};

&iep_mmu {
	status = "okay";
};

&jpegd {
	status = "okay";
};

&jpegd_mmu {
	status = "okay";
};

&mpp_srv {
	status = "okay";
};

&nandc0 {
	#address-cells = <1>;
	#size-cells = <0>;
	status = "okay";

	nand@0 {
		reg = <0>;
		nand-bus-width = <8>;
		nand-ecc-mode = "hw";
		nand-ecc-strength = <16>;
		nand-ecc-step-size = <1024>;
	};
};

 /*
  * There are 10 independent IO domains in RK3566/RK3568, including PMUIO[0:2] and VCCIO[1:7].
  * 1/ PMUIO0 and PMUIO1 are fixed-level power domains which cannot be configured;
  * 2/ PMUIO2 and VCCIO1,VCCIO[3:7] domains require that their hardware power supply voltages
  *    must be consistent with the software configuration correspondingly
  *	a/ When the hardware IO level is connected to 1.8V, the software voltage configuration
  *	   should also be configured to 1.8V accordingly;
  *	b/ When the hardware IO level is connected to 3.3V, the software voltage configuration
  *	   should also be configured to 3.3V accordingly;
  * 3/ VCCIO2 voltage control selection (0xFDC20140)
  *	BIT[0]: 0x0: from GPIO_0A7 (default)
  *	BIT[0]: 0x1: from GRF
  *    Default is determined by Pin FLASH_VOL_SEL/GPIO0_A7:
  *	L:VCCIO2 must supply 3.3V
  *	H:VCCIO2 must supply 1.8V
  */
&pmu_io_domains {
	status = "okay";
	pmuio1-supply = <&vcc3v3_pmu>;
	pmuio2-supply = <&vcc3v3_pmu>;

	vccio1-supply = <&vccio_acodec>;
	vccio3-supply = <&vccio_sd>;
	vccio4-supply = <&vcc_1v8>;
	vccio5-supply = <&vcc_3v3>;
	vccio6-supply = <&vcc_1v8>;
	vccio7-supply = <&vcc_3v3>;
};

&pwm3 {
	status = "okay";
};

&pwm5 {
	status = "okay";
};

&pwm14 {
	status = "okay";
};

&rk_rga {
	status = "okay";
};

&rkvdec {
	status = "okay";
};

&rkvdec_mmu {
	status = "okay";
};

&rkvenc {
	venc-supply = <&vdd_logic>;
	status = "okay";
};

&rkvenc_mmu {
	status = "okay";
};

&rknpu {
	rknpu-supply = <&vdd_npu>;
	status = "okay";
};

&rknpu_mmu {
	status = "okay";
};

&saradc {
	status = "okay";
	vref-supply = <&vcca_1v8>;
};

&sdhci {
	bus-width = <8>;
	supports-emmc;
	non-removable;
	max-frequency = <200000000>;
	status = "okay";
};

&sdmmc0 {
	max-frequency = <150000000>;
	supports-sd;
	bus-width = <4>;
	cap-mmc-highspeed;
	cap-sd-highspeed;
	disable-wp;
	sd-uhs-sdr104;
	vmmc-supply = <&vcc3v3_sd>;
	vqmmc-supply = <&vccio_sd>;
	pinctrl-names = "default";
	pinctrl-0 = <&sdmmc0_bus4 &sdmmc0_clk &sdmmc0_cmd &sdmmc0_det>;
	status = "okay";
};

&sfc {
	status = "okay";
	pinctrl-names = "default";
	pinctrl-0 = <&fspi_pins>;
	flash: m25p80@0 {
		#address-cells = <1>;
		#size-cells = <1>;
		compatible = "spansion,m25p80", "jedec,spi-nor";
		reg = <0>;
		spi-max-frequency = <40000000>;
		m25p,fast-read;
	};
};

&spdif_8ch {
	status = "disabled";
	pinctrl-names = "default";
	pinctrl-0 = <&spdifm1_tx>;
};

&tsadc {
	status = "okay";
};

&u2phy0_host {
	status = "okay";
};

&u2phy0_otg {
	status = "okay";
};

&u2phy1_host {
	status = "okay";
};

&u2phy1_otg {
	status = "okay";
};

&usb2phy0 {
	status = "okay";
};

&usb2phy1 {
	status = "okay";
};

&usb_host0_ehci {
	status = "okay";
};

&usb_host0_ohci {
	status = "okay";
};

&usb_host1_ehci {
	status = "okay";
};

&usb_host1_ohci {
	status = "okay";
};

&usbdrd_dwc3 {
	dr_mode = "otg";
	extcon = <&usb2phy0>;
	status = "okay";
};

&usbdrd30 {
	status = "okay";
};

&usbhost_dwc3 {
	status = "okay";
};

&usbhost30 {
	status = "okay";
};

&vad {
	rockchip,audio-src = <&i2s1_8ch>;
	rockchip,buffer-time-ms = <128>;
	rockchip,det-channel = <0>;
	rockchip,mode = <0>;
};

&vdpu {
	status = "okay";
};

&vdpu_mmu {
	status = "okay";
};

&vepu {
	status = "okay";
};

&vepu_mmu {
	status = "okay";
};

&vop {
	status = "okay";
	assigned-clocks = <&cru DCLK_VOP0>, <&cru DCLK_VOP1>, <&cru DCLK_VOP2>;
	assigned-clock-parents = <&pmucru PLL_HPLL>, <&cru PLL_VPLL>, <&cru PLL_GPLL>;
	disable-win-move;
};

&vop_mmu {
	status = "okay";
};

&vp0 {
	cursor-win-id = <ROCKCHIP_VOP2_CLUSTER0>;
};

&vp1 {
	cursor-win-id = <ROCKCHIP_VOP2_CLUSTER1>;
};

&edp {
	status = "disabled";
	pinctrl-names = "default";
	pinctrl-0 = <&edpdpm0_pins>;

	ports {
		port@1 {
			reg = <1>;

			edp_out_panel: endpoint {
				remote-endpoint = <&panel_in_edp>;
			};
		};
	};
};

&edp_phy {
	status = "disabled";
};

&edp_in_vp0 {
	status = "disabled";
};

&edp_in_vp1 {
	status = "disabled";
};

&route_edp {
	status = "disabled";
	connect = <&vp1_out_edp>;
};
&route_dsi1 {
	status = "disabled";
	connect = <&vp1_out_dsi1>;
};

&dsi1_in_vp0 {
	status = "disabled";
};

&dsi1_in_vp1 {
	status = "disabled";
};

// TODO
&dsi1 {
	status = "disabled";
	//rockchip,lane-rate = <1000>;
	dsi1_panel: panel@0 {
		status = "okay";
		compatible = "simple-panel-dsi";
		reg = <0>;
		reset-delay-ms = <60>;
		enable-delay-ms = <60>;
		prepare-delay-ms = <60>;
		unprepare-delay-ms = <60>;
		disable-delay-ms = <60>;
		dsi,flags = <(MIPI_DSI_MODE_VIDEO | MIPI_DSI_MODE_VIDEO_BURST |
			MIPI_DSI_MODE_LPM | MIPI_DSI_MODE_EOT_PACKET)>;
		dsi,format = <MIPI_DSI_FMT_RGB888>;
		dsi,lanes  = <4>;
		panel-init-sequence = [
		];

		panel-exit-sequence = [
		];

		panel-width-mm = <68>;
        panel-height-mm = <121>;
        backlight = <&dsi1_backlight>;
		enable-gpios = <&gpio0 RK_PB0 GPIO_ACTIVE_HIGH>;

        display-timings {
			native-mode = <&panel7_1024x600>;
            panel7_1024x600: timings {
                hback-porch     = <48>;
                hfront-porch    = <40>;
                hactive         = <1024>;
                hsync-len       = <48>;
                vback-porch     = <48>;
                vfront-porch    = <40>;
                vactive         = <600>;
                vsync-len       = <4>;
                clock-frequency = <45000000>;
                vsync-active    = <0>;
                hsync-active    = <0>;
                de-active       = <0>;
                pixelclk-active = <0>;
            };
        };

		ports {
			#address-cells = <1>;
			#size-cells = <0>;

			port@0 {
				reg = <0>;
				panel_in_dsi: endpoint {
					remote-endpoint = <&dsi_out_panel>;
				};
			};
		};
	};

	ports {
		#address-cells = <1>;
		#size-cells = <0>;

		port@1 {
			reg = <1>;
			dsi_out_panel: endpoint {
				remote-endpoint = <&panel_in_dsi>;
			};
		};
	};

};

&hdmi {
	status = "disabled";
	rockchip,phy-table =
		<92812500  0x8009 0x0000 0x0270>,
		<165000000 0x800b 0x0000 0x026d>,
		<185625000 0x800b 0x0000 0x01ed>,
		<297000000 0x800b 0x0000 0x01ad>,
		<594000000 0x8029 0x0000 0x0088>,
		<000000000 0x0000 0x0000 0x0000>;
};

&hdmi_in_vp0 {
	status = "disabled";
};

&hdmi_in_vp1 {
	status = "disabled";
};

&route_hdmi {
	status = "disabled";
	connect = <&vp0_out_hdmi>;
};

&lvds {
	status = "disabled";
	phys = <&video_phy0>;
	phy-names = "phy";

	ports {
		port@1 {
			reg = <1>;

			lvds_out_panel: endpoint {
				remote-endpoint = <&panel_in_lvds>;
			};
		};
	};
};

&lvds_in_vp1 {
	status = "disabled";
};

&lvds_in_vp2 {
	status = "disabled";
};

&route_lvds {
	status = "disabled";
	connect = <&vp2_out_lvds>;
};

&rgb {
	status = "disabled";
	phys = <&video_phy1>;
	phy-names = "phy";

        ports {
                port@1 {
                        reg = <1>;
                        rgb_out_panel: endpoint {
                                remote-endpoint = <&panel_in_rgb>;
                        };
                };
        };
};

&rgb_in_vp2 {
        status = "disabled";
};

&route_rgb {
        status = "disabled";
        connect = <&vp2_out_rgb>;
};

&xin32k {
	status = "disabled";
};

&uart3 {
	status = "okay";
	pinctrl-names = "default";
	pinctrl-0 = <&uart3m1_xfer>;
};

&uart4 {
	status = "okay";
	pinctrl-names = "default";
	pinctrl-0 = <&uart4m1_xfer>;
};

&uart5 {
	// status = "okay";
	// xjt
	status = "disable";
	pinctrl-names = "default";
	pinctrl-0 = <&uart5m1_xfer>;
};

&spi0 {
	pinctrl-names = "default", "high_speed";
	pinctrl-0 = <&spi0m1_cs0 &spi0m1_pins>;
	pinctrl-1 = <&spi0m1_cs0 &spi0m1_pins_hs>;
	status = "disabled";

	spi@0 {
		compatible = "rockchip,spidev";
		reg = <0>;
		spi-max-frequency = <50000000>;
	};
};

&spi2 {
	pinctrl-names = "default", "high_speed";
	pinctrl-0 = <&spi2m1_cs0 &spi2m1_cs1 &spi2m1_pins>;
	pinctrl-1 = <&spi2m1_cs0 &spi2m1_cs1 &spi2m1_pins_hs>;
	// status = "okay";
	status = "disable";

	spi@0 {
		compatible = "rockchip,spidev";
		reg = <0>;
		spi-max-frequency = <50000000>;
	};

	spi@1 {
		compatible = "rockchip,spidev";
		reg = <1>;
		spi-max-frequency = <50000000>;
	};
};
